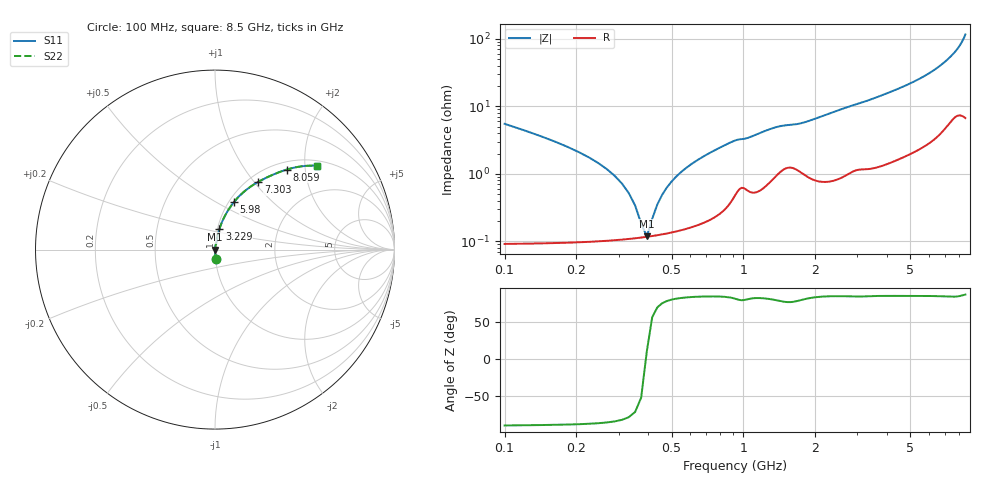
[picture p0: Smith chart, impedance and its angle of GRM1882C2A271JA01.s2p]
!Murata Part Number: GRM1882C2A271JA01
!These Parameters are Measured in Series Mode Connection
!Data Generated on Mar 30, 2021
!  o--ll--o
!Port1  Port2
!  o------o
!Operation Temp=25[degC], DC Bias Voltage=0[V]
!Freq. Start=100[MHz] Stop=9[GHz] 401[Steps]
# Hz S RI R 50
!Freq.(Hz) S11(Real) S11(Imag) S21(Real) S21(Imag) S12(Real) S12(Imag) S22(Real) S22(Imag)
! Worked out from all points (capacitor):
!   401 points, 100 MHz to 8.5 GHz, reference 50 ohm
!   read as one part in series: C = 270 pF near 142 MHz
!   lowest |Z| = 119 mohm at 394 MHz (marker M1)
!   series resonance near 391.3 MHz, so ESL is about 610 pH
!   S11 on the Smith chart (normalised r, x): 100 MHz: 1.00, -0.11; 3.229 GHz: 1.02, +0.24; 5.98 GHz: 1.06, +0.61; 7.303 GHz: 1.11, +1.05; 8.059 GHz: 1.15, +1.60; 8.5 GHz: 1.13, +2.32
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1e8  0.00394 -0.0549  0.9961 0.0549  0.9961 0.0549  0.00394 -0.0549
2.68e8  0.00115 -0.0117  0.9988 0.0117  0.9988 0.0117  0.00115 -0.0117
3.1e8  0.00111 -0.00709  0.9989 0.00709  0.9989 0.00709  0.00111 -0.00709
3.52e8  0.00112 -0.0032  0.9989 0.0032  0.9989 0.0032  0.00112 -0.0032
3.73e8  0.00114 -0.00144  0.9989 0.00144  0.9989 0.00144  0.00114 -0.00144
3.94e8  0.00117 0.000216  0.9988 -0.000216  0.9988 -0.000216  0.00117 0.000216
4.15e8  0.0012 0.00179  0.9988 -0.00179  0.9988 -0.00179  0.0012 0.00179
4.78e8  0.00134 0.00613  0.9987 -0.00613  0.9987 -0.00613  0.00134 0.00613
5.2e8  0.00147 0.00879  0.9985 -0.00879  0.9985 -0.00879  0.00147 0.00879
6.04e8  0.0018 0.0137  0.9982 -0.0137  0.9982 -0.0137  0.0018 0.0137
7.09e8  0.00238 0.0195  0.9976 -0.0195  0.9976 -0.0195  0.00238 0.0195
9.19e8  0.00559 0.0304  0.9944 -0.0304  0.9944 -0.0304  0.00559 0.0304
1.507e9  0.0144 0.0497  0.9856 -0.0497  0.9856 -0.0497  0.0144 0.0497
2.914e9  0.0214 0.1013  0.9786 -0.1013  0.9786 -0.1013  0.0214 0.1013
3.229e9  0.0247 0.1133  0.9753 -0.1133  0.9753 -0.1133  0.0247 0.1133
4.3e9  0.043 0.163  0.957 -0.163  0.957 -0.163  0.043 0.163
5.707e9  0.0917 0.2466  0.9083 -0.2466  0.9083 -0.2466  0.0917 0.2466
5.98e9  0.107 0.2666  0.893 -0.2666  0.893 -0.2666  0.107 0.2666
7.114e9  0.2146 0.3616  0.7854 -0.3616  0.7854 -0.3616  0.2146 0.3616
7.303e9  0.2422 0.3781  0.7578 -0.3781  0.7578 -0.3781  0.2422 0.3781
8.059e9  0.4003 0.4461  0.5997 -0.4461  0.5997 -0.4461  0.4003 0.4461
8.5e9  0.5707 0.4669  0.4293 -0.4669  0.4293 -0.4669  0.5707 0.4669
